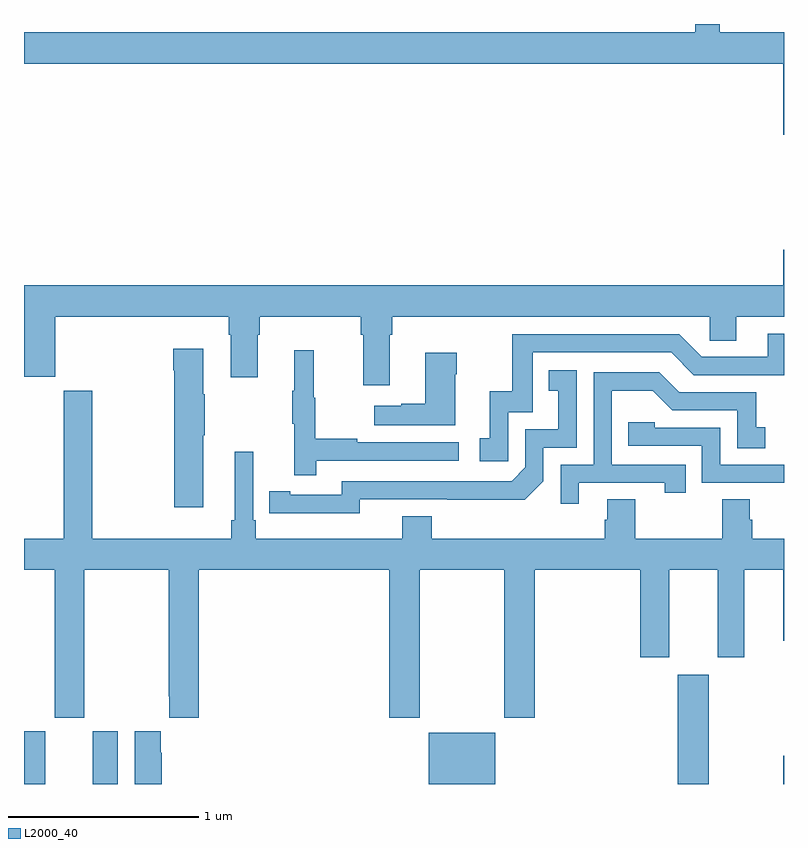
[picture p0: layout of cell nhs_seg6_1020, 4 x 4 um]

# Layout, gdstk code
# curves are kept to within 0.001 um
import gdstk
lib = gdstk.Library(unit=1e-6, precision=1e-09)
def R(c, l, rs):  # rectangles x0, y0, x1, y1
    for r in rs: c.add(gdstk.rectangle(r[:2], r[2:], *l))
def P(c, l, *ps):  # polygons
    for p in ps: c.add(gdstk.Polygon(p, *l))
L2000_40 = (2000, 40)

nhs_seg6_1020 = lib.new_cell('nhs_seg6_1020')
R(nhs_seg6_1020, L2000_40, [(173,987.5,173.113,987.778), (173.363,987.5,173.494,987.778), (175.13,987.5,175.48,987.769), (176.441,987.5,176.605,988.075), (176.996,987.5,177,987.649)])
P(nhs_seg6_1020, L2000_40, [(177,991.456),(176.663,991.456),(176.663,991.5),(176.533,991.5),(176.533,991.456),(173,991.456),(173,991.292),(176.996,991.292),(176.996,990.918),(177,990.918)],
  [(174.925,989.864),(174.938,989.864),(174.938,989.96),(176.61,989.96),(176.61,989.833),(176.749,989.833),(176.749,989.96),(177,989.96),(177,990.313),(176.996,990.313),(176.996,990.124),(173,990.124),(173,989.643),(173.164,989.643),(173.164,989.96),(174.077,989.96),(174.077,989.864),(174.089,989.864),(174.089,989.64),(174.229,989.64),(174.229,989.864),(174.242,989.864),(174.242,989.96),(174.773,989.96),(174.773,989.864),(174.785,989.864),(174.785,989.598),(174.925,989.598)],
  [(175.548,989.457),(175.677,989.457),(175.677,989.772),(176.406,989.772),(176.526,989.652),(177,989.652),(177,989.871),(176.915,989.871),(176.915,989.748),(176.568,989.748),(176.448,989.868),(175.569,989.868),(175.569,989.566),(175.451,989.566),(175.451,989.319),(175.398,989.319),(175.398,989.199),(175.548,989.199)],
  [(173.944,989.335),(173.952,989.335),(173.952,989.552),(173.944,989.552),(173.944,989.791),(173.786,989.791),(173.786,989.678),(173.791,989.678),(173.791,988.956),(173.944,988.956)],
  [(174.539,989.202),(175.288,989.202),(175.288,989.298),(174.755,989.298),(174.755,989.318),(174.532,989.318),(174.532,989.532),(174.524,989.532),(174.524,989.782),(174.422,989.782),(174.422,989.569),(174.411,989.569),(174.411,989.395),(174.422,989.395),(174.422,989.124),(174.539,989.124)],
  [(175.27,989.657),(175.278,989.657),(175.278,989.77),(175.112,989.77),(175.112,989.501),(174.986,989.501),(174.986,989.491),(174.843,989.491),(174.843,989.387),(175.27,989.387)],
  [(174.768,988.998),(175.636,988.997),(175.734,989.094),(175.734,989.271),(175.908,989.271),(175.908,989.677),(175.762,989.677),(175.762,989.571),(175.811,989.571),(175.811,989.367),(175.638,989.367),(175.638,989.166),(175.566,989.094),(174.672,989.094),(174.672,989.022),(174.4,989.022),(174.4,989.042),(174.292,989.042),(174.292,988.926),(174.768,988.925)],
  [(175.921,989.085),(176.372,989.085),(176.372,989.034),(176.483,989.034),(176.483,989.181),(176.094,989.181),(176.094,989.57),(176.308,989.57),(176.412,989.466),(176.754,989.466),(176.754,989.268),(176.902,989.268),(176.902,989.377),(176.853,989.377),(176.853,989.562),(176.449,989.562),(176.344,989.667),(175.998,989.667),(175.998,989.181),(175.824,989.181),(175.824,988.974),(175.921,988.974)],
  [(173.21,988.792),(173,988.792),(173,988.628),(173.161,988.628),(173.161,987.849),(173.316,987.849),(173.316,988.628),(173.761,988.628),(173.761,987.961),(173.765,987.961),(173.765,987.849),(173.921,987.849),(173.921,988.628),(174.923,988.628),(174.923,987.849),(175.083,987.849),(175.083,988.628),(175.528,988.628),(175.528,987.849),(175.688,987.849),(175.688,988.628),(176.243,988.628),(176.243,988.167),(176.395,988.167),(176.395,988.628),(176.651,988.628),(176.651,988.167),(176.791,988.167),(176.791,988.628),(176.996,988.628),(176.996,988.254),(177,988.254),(177,988.792),(176.834,988.792),(176.834,988.89),(176.821,988.89),(176.821,989),(176.674,989),(176.674,988.792),(176.217,988.792),(176.217,989),(176.069,989),(176.069,988.89),(176.057,988.89),(176.057,988.792),(175.145,988.792),(175.145,988.909),(174.992,988.909),(174.992,988.792),(174.221,988.792),(174.221,988.888),(174.207,988.888),(174.207,989.248),(174.11,989.248),(174.11,988.888),(174.091,988.888),(174.091,988.792),(173.358,988.792),(173.358,989.571),(173.21,989.571)],
  [(177,989.181),(176.664,989.181),(176.664,989.376),(176.319,989.376),(176.319,989.403),(176.179,989.403),(176.179,989.28),(176.568,989.28),(176.568,989.085),(177,989.085)],
  [(173.726,987.665),(173.719,987.665),(173.719,987.778),(173.582,987.778),(173.582,987.5),(173.726,987.5)])

lib.write_gds('nhs_seg6_1020.gds')
